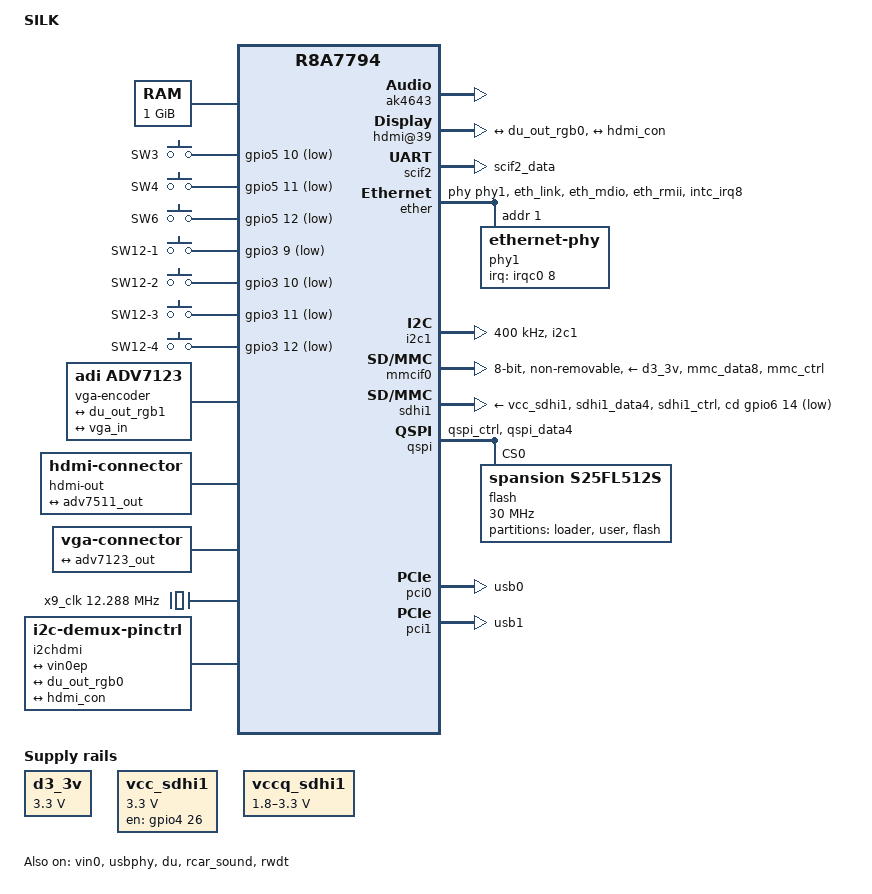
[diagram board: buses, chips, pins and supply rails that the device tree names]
/*
 * Device Tree Source for the SILK board
 *
 * Copyright (C) 2014 Renesas Electronics Corporation
 * Copyright (C) 2014-2015 Renesas Solutions Corp.
 * Copyright (C) 2014-2015 Cogent Embedded, Inc.
 *
 * This file is licensed under the terms of the GNU General Public License
 * version 2.  This program is licensed "as is" without any warranty of any
 * kind, whether express or implied.
 */

/*
 * SSI-AK4643
 *
 * SW1: 2-1: AK4643
 *      2-3: ADV7511
 *
 * This command is required before playback/capture:
 *
 *	amixer set "LINEOUT Mixer DACL" on
 */

/dts-v1/;
#include "r8a7794.dtsi"
#include <dt-bindings/gpio/gpio.h>
#include <dt-bindings/input/input.h>

/ {
	model = "SILK";
	compatible = "renesas,silk", "renesas,r8a7794";

	aliases {
		serial0 = &scif2;
		i2c9 = &gpioi2c1;
		i2c10 = &i2chdmi;
	};

	chosen {
		bootargs = "ignore_loglevel rw root=/dev/nfs ip=dhcp";
		stdout-path = "serial0:115200n8";
	};

	memory@40000000 {
		device_type = "memory";
		reg = <0 0x40000000 0 0x40000000>;
	};

	gpio-keys {
		compatible = "gpio-keys";

		key-3 {
			gpios = <&gpio5 10 GPIO_ACTIVE_LOW>;
			linux,code = <KEY_3>;
			label = "SW3";
			wakeup-source;
			debounce-interval = <20>;
		};
		key-4 {
			gpios = <&gpio5 11 GPIO_ACTIVE_LOW>;
			linux,code = <KEY_4>;
			label = "SW4";
			wakeup-source;
			debounce-interval = <20>;
		};
		key-6 {
			gpios = <&gpio5 12 GPIO_ACTIVE_LOW>;
			linux,code = <KEY_6>;
			label = "SW6";
			wakeup-source;
			debounce-interval = <20>;
		};
		key-a {
			gpios = <&gpio3 9 GPIO_ACTIVE_LOW>;
			linux,code = <KEY_A>;
			label = "SW12-1";
			wakeup-source;
			debounce-interval = <20>;
		};
		key-b {
			gpios = <&gpio3 10 GPIO_ACTIVE_LOW>;
			linux,code = <KEY_B>;
			label = "SW12-2";
			wakeup-source;
			debounce-interval = <20>;
		};
		key-c {
			gpios = <&gpio3 11 GPIO_ACTIVE_LOW>;
			linux,code = <KEY_C>;
			label = "SW12-3";
			wakeup-source;
			debounce-interval = <20>;
		};
		key-d {
			gpios = <&gpio3 12 GPIO_ACTIVE_LOW>;
			linux,code = <KEY_D>;
			label = "SW12-4";
			wakeup-source;
			debounce-interval = <20>;
		};
	};

	d3_3v: regulator-d3-3v {
		compatible = "regulator-fixed";
		regulator-name = "D3.3V";
		regulator-min-microvolt = <3300000>;
		regulator-max-microvolt = <3300000>;
		regulator-boot-on;
		regulator-always-on;
	};

	vcc_sdhi1: regulator-vcc-sdhi1 {
		compatible = "regulator-fixed";

		regulator-name = "SDHI1 Vcc";
		regulator-min-microvolt = <3300000>;
		regulator-max-microvolt = <3300000>;

		gpio = <&gpio4 26 GPIO_ACTIVE_HIGH>;
		enable-active-high;
	};

	vccq_sdhi1: regulator-vccq-sdhi1 {
		compatible = "regulator-gpio";

		regulator-name = "SDHI1 VccQ";
		regulator-min-microvolt = <1800000>;
		regulator-max-microvolt = <3300000>;

		gpios = <&gpio4 29 GPIO_ACTIVE_HIGH>;
		gpios-states = <1>;
		states = <3300000 1
			  1800000 0>;
	};

	vga-encoder {
		compatible = "adi,adv7123";

		ports {
			#address-cells = <1>;
			#size-cells = <0>;

			port@0 {
				reg = <0>;
				adv7123_in: endpoint {
					remote-endpoint = <&du_out_rgb1>;
				};
			};
			port@1 {
				reg = <1>;
				adv7123_out: endpoint {
					remote-endpoint = <&vga_in>;
				};
			};
		};
	};

	hdmi-out {
		compatible = "hdmi-connector";
		type = "a";

		port {
			hdmi_con: endpoint {
				remote-endpoint = <&adv7511_out>;
			};
		};
	};

	vga {
		compatible = "vga-connector";

		port {
			vga_in: endpoint {
				remote-endpoint = <&adv7123_out>;
			};
		};
	};

	x2_clk: x2-clock {
		compatible = "fixed-clock";
		#clock-cells = <0>;
		clock-frequency = <148500000>;
	};

	x3_clk: x3-clock {
		compatible = "fixed-clock";
		#clock-cells = <0>;
		clock-frequency = <74250000>;
	};

	x9_clk: audio_clock {
		compatible = "fixed-clock";
		#clock-cells = <0>;
		clock-frequency = <12288000>;
	};

	sound {
		compatible = "simple-audio-card";

		simple-audio-card,format = "left_j";
		simple-audio-card,bitclock-master = <&soundcodec>;
		simple-audio-card,frame-master = <&soundcodec>;

		simple-audio-card,cpu {
			sound-dai = <&rcar_sound>;
		};

		soundcodec: simple-audio-card,codec {
			sound-dai = <&ak4643>;
			clocks = <&x9_clk>;
		};
	};

	gpioi2c1: i2c-9 {
		#address-cells = <1>;
		#size-cells = <0>;
		compatible = "i2c-gpio";
		status = "disabled";
		scl-gpios = <&gpio4 0 (GPIO_ACTIVE_HIGH | GPIO_OPEN_DRAIN)>;
		sda-gpios = <&gpio4 1 (GPIO_ACTIVE_HIGH | GPIO_OPEN_DRAIN)>;
		i2c-gpio,delay-us = <5>;
	};

	/*
	 * A fallback to GPIO is provided for I2C1.
	 */
	i2chdmi: i2c-10 {
		compatible = "i2c-demux-pinctrl";
		i2c-parent = <&i2c1>, <&gpioi2c1>;
		i2c-bus-name = "i2c-hdmi";
		#address-cells = <1>;
		#size-cells = <0>;

		ak4643: codec@12 {
			compatible = "asahi-kasei,ak4643";
			#sound-dai-cells = <0>;
			reg = <0x12>;
		};

		composite-in@20 {
			compatible = "adi,adv7180";
			reg = <0x20>;
			remote = <&vin0>;

			port {
				adv7180: endpoint {
					bus-width = <8>;
					remote-endpoint = <&vin0ep>;
				};
			};
		};

		hdmi@39 {
			compatible = "adi,adv7511w";
			reg = <0x39>;
			interrupt-parent = <&gpio5>;
			interrupts = <23 IRQ_TYPE_LEVEL_LOW>;

			adi,input-depth = <8>;
			adi,input-colorspace = "rgb";
			adi,input-clock = "1x";
			adi,input-style = <1>;
			adi,input-justification = "evenly";

			ports {
				#address-cells = <1>;
				#size-cells = <0>;

				port@0 {
					reg = <0>;
					adv7511_in: endpoint {
						remote-endpoint = <&du_out_rgb0>;
					};
				};

				port@1 {
					reg = <1>;
					adv7511_out: endpoint {
						remote-endpoint = <&hdmi_con>;
					};
				};
			};
		};

		eeprom@50 {
			compatible = "renesas,r1ex24002", "atmel,24c02";
			reg = <0x50>;
			pagesize = <16>;
		};
	};
};

&extal_clk {
	clock-frequency = <20000000>;
};

&pfc {
	pinctrl-0 = <&scif_clk_pins>;
	pinctrl-names = "default";

	scif2_pins: scif2 {
		groups = "scif2_data";
		function = "scif2";
	};

	scif_clk_pins: scif_clk {
		groups = "scif_clk";
		function = "scif_clk";
	};

	ether_pins: ether {
		groups = "eth_link", "eth_mdio", "eth_rmii";
		function = "eth";
	};

	phy1_pins: phy1 {
		groups = "intc_irq8";
		function = "intc";
	};

	i2c1_pins: i2c1 {
		groups = "i2c1";
		function = "i2c1";
	};

	mmcif0_pins: mmcif0 {
		groups = "mmc_data8", "mmc_ctrl";
		function = "mmc";
	};

	sdhi1_pins: sd1 {
		groups = "sdhi1_data4", "sdhi1_ctrl";
		function = "sdhi1";
	};

	qspi_pins: qspi {
		groups = "qspi_ctrl", "qspi_data4";
		function = "qspi";
	};

	vin0_pins: vin0 {
		groups = "vin0_data8", "vin0_clk";
		function = "vin0";
	};

	usb0_pins: usb0 {
		groups = "usb0";
		function = "usb0";
	};

	usb1_pins: usb1 {
		groups = "usb1";
		function = "usb1";
	};

	du0_pins: du0 {
		groups = "du0_rgb888", "du0_sync", "du0_disp", "du0_clk0_out";
		function = "du0";
	};

	du1_pins: du1 {
		groups = "du1_rgb666", "du1_sync", "du1_disp", "du1_clk0_out";
		function = "du1";
	};

	ssi_pins: sound {
		groups = "ssi0129_ctrl", "ssi0_data", "ssi1_data";
		function = "ssi";
	};

	audio_clk_pins: audio_clk {
		groups = "audio_clkc";
		function = "audio_clk";
	};
};

&scif2 {
	pinctrl-0 = <&scif2_pins>;
	pinctrl-names = "default";

	status = "okay";
};

&scif_clk {
	clock-frequency = <14745600>;
};

&ether {
	pinctrl-0 = <&ether_pins &phy1_pins>;
	pinctrl-names = "default";

	phy-handle = <&phy1>;
	renesas,ether-link-active-low;
	status = "okay";

	phy1: ethernet-phy@1 {
		reg = <1>;
		interrupt-parent = <&irqc0>;
		interrupts = <8 IRQ_TYPE_LEVEL_LOW>;
		micrel,led-mode = <1>;
	};
};

&i2c1 {
	pinctrl-0 = <&i2c1_pins>;
	pinctrl-names = "i2c-hdmi";

	clock-frequency = <400000>;
};

&mmcif0 {
	pinctrl-0 = <&mmcif0_pins>;
	pinctrl-names = "default";

	vmmc-supply = <&d3_3v>;
	vqmmc-supply = <&d3_3v>;
	bus-width = <8>;
	non-removable;
	status = "okay";
};

&sdhi1 {
	pinctrl-0 = <&sdhi1_pins>;
	pinctrl-names = "default";

	vmmc-supply = <&vcc_sdhi1>;
	vqmmc-supply = <&vccq_sdhi1>;
	cd-gpios = <&gpio6 14 GPIO_ACTIVE_LOW>;
	status = "okay";
};

&qspi {
	pinctrl-0 = <&qspi_pins>;
	pinctrl-names = "default";

	status = "okay";

	flash@0 {
		compatible = "spansion,s25fl512s", "jedec,spi-nor";
		reg = <0>;
		spi-max-frequency = <30000000>;
		spi-tx-bus-width = <4>;
		spi-rx-bus-width = <4>;
		spi-cpol;
		spi-cpha;
		m25p,fast-read;

		partitions {
			compatible = "fixed-partitions";
			#address-cells = <1>;
			#size-cells = <1>;

			partition@0 {
				label = "loader";
				reg = <0x00000000 0x00040000>;
				read-only;
			};
			partition@40000 {
				label = "user";
				reg = <0x00040000 0x00400000>;
				read-only;
			};
			partition@440000 {
				label = "flash";
				reg = <0x00440000 0x03bc0000>;
			};
		};
	};
};

/* composite video input */
&vin0 {
	status = "okay";
	pinctrl-0 = <&vin0_pins>;
	pinctrl-names = "default";

	port {
		vin0ep: endpoint {
			remote-endpoint = <&adv7180>;
			bus-width = <8>;
		};
	};
};

&pci0 {
	status = "okay";
	pinctrl-0 = <&usb0_pins>;
	pinctrl-names = "default";
};

&pci1 {
	status = "okay";
	pinctrl-0 = <&usb1_pins>;
	pinctrl-names = "default";
};

&usbphy {
	status = "okay";
};

&du {
	pinctrl-0 = <&du0_pins &du1_pins>;
	pinctrl-names = "default";
	status = "okay";

	clocks = <&cpg CPG_MOD 724>, <&cpg CPG_MOD 723>,
		 <&x2_clk>, <&x3_clk>;
	clock-names = "du.0", "du.1", "dclkin.0", "dclkin.1";

	ports {
		port@0 {
			endpoint {
				remote-endpoint = <&adv7511_in>;
			};
		};
		port@1 {
			endpoint {
				remote-endpoint = <&adv7123_in>;
			};
		};
	};
};

&rcar_sound {
	pinctrl-0 = <&ssi_pins &audio_clk_pins>;
	pinctrl-names = "default";
	status = "okay";

	/* Single DAI */
	#sound-dai-cells = <0>;

	rcar_sound,dai {
		dai0 {
			playback = <&ssi0>;
			capture  = <&ssi1>;
		};
	};
};

&rwdt {
	timeout-sec = <60>;
	status = "okay";
};

&ssi1 {
	shared-pin;
};
